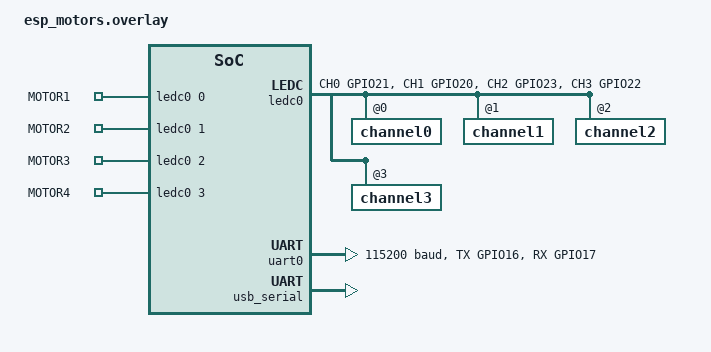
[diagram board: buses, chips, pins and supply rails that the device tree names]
/*
 * SPDX-License-Identifier: Apache-2.0
 *
 * ESP32-C6 as the ONLY driver of all four motor gates, commanded by the FPGA
 * over the existing UART link.
 *
 * THIS OVERLAY DRIVES THE GATES. It is the opposite of motor_safe.overlay,
 * which parks the same four pins as pulled-down inputs so the FPGA can own
 * them. Both cannot be true at once, and flashing this image REPLACES the gate
 * probe every motor measurement in this investigation was made with. Reflash
 * motor_safe to get the instrument back.
 *
 * Why the ESP owns all four rather than only motor4: FPGA ball F13 is dead as
 * an output (proven with a bare-metal bitstream: M1/M2/M3 read back exact, M4
 * reads nothing, and F13 as an input reads the carrier's 10k pulldown, so the
 * net is intact and the driver is not). Every gate is a wired-OR of an FPGA 47R
 * and an ESP 47R into that 10k, so keeping three motors dual-driven would leave
 * the contention that parks a contested gate near half rail. One owner per gate.
 *
 * Pin map is the routed PCB's, same as motor_4.overlay:
 *   MOTOR1 = GPIO21   MOTOR2 = GPIO20   MOTOR3 = GPIO23   MOTOR4 = GPIO22
 * 20 kHz, active-high into the SI2302 gate: duty 0 really is motor off.
 *
 * The FPGA link and the console are wired exactly as esp_bridge.overlay proved:
 *
 *   ESP U0TXD/GPIO16 (31)  -> JB1 95 -> FPGA E13 (J1_96) uart1_rxd
 *   ESP U0RXD/GPIO17 (30)  <- JB1 97 <- FPGA F14 (J1_98) uart1_txd
 *
 * The console HAS to move off uart0, because uart0 is the FPGA link: leave it
 * there and every printk is transmitted into the flight controller's receiver,
 * where the frame decoder would at best count it as noise. It moves to the
 * native USB Serial/JTAG unit on the USB-C port -- the same cable used to flash.
 */

#include <zephyr/dt-bindings/pwm/pwm.h>
#include <zephyr/dt-bindings/pinctrl/esp32c6-pinctrl.h>

/ {
	chosen {
		zephyr,console = &usb_serial;
		zephyr,shell-uart = &usb_serial;
	};

	aliases {
		fpga-uart = &uart0;
		pwm-motor0 = &pwm_motor0;
		pwm-motor1 = &pwm_motor1;
		pwm-motor2 = &pwm_motor2;
		pwm-motor3 = &pwm_motor3;
	};

	pwmleds {
		compatible = "pwm-leds";

		/*
		 * 50000 ns = 20 kHz. motor_1/motor_4.overlay carry 20000 in this
		 * cell while their applications pass 50000 ns explicitly to
		 * pwm_set_dt(), so the cell there is dead weight that disagrees
		 * with the comment above it. Stated correctly here so that
		 * pwm_set_pulse_dt() -- which uses the cell -- means 20 kHz too.
		 */
		pwm_motor0: pwm_motor_gpio21 {
			label = "MOTOR1";
			pwms = <&ledc0 0 50000 PWM_POLARITY_NORMAL>;
		};

		pwm_motor1: pwm_motor_gpio20 {
			label = "MOTOR2";
			pwms = <&ledc0 1 50000 PWM_POLARITY_NORMAL>;
		};

		pwm_motor2: pwm_motor_gpio23 {
			label = "MOTOR3";
			pwms = <&ledc0 2 50000 PWM_POLARITY_NORMAL>;
		};

		pwm_motor3: pwm_motor_gpio22 {
			label = "MOTOR4";
			pwms = <&ledc0 3 50000 PWM_POLARITY_NORMAL>;
		};
	};
};

&pinctrl {
	ledc0_default: ledc0_default {
		group1 {
			pinmux = <LEDC_CH0_GPIO21>,
				 <LEDC_CH1_GPIO20>,
				 <LEDC_CH2_GPIO23>,
				 <LEDC_CH3_GPIO22>;
			output-enable;
		};
	};

	uart0_fpga: uart0_fpga {
		group1 {
			pinmux = <UART0_TX_GPIO16>;
			output-high;
		};
		group2 {
			pinmux = <UART0_RX_GPIO17>;
			bias-pull-up;
		};
	};
};

&ledc0 {
	pinctrl-0 = <&ledc0_default>;
	pinctrl-names = "default";
	status = "okay";
	#address-cells = <1>;
	#size-cells = <0>;

	channel0@0 {
		reg = <0x0>;
		timer = <0>;
	};

	channel1@1 {
		reg = <0x1>;
		timer = <0>;
	};

	channel2@2 {
		reg = <0x2>;
		timer = <0>;
	};

	channel3@3 {
		reg = <0x3>;
		timer = <0>;
	};
};

&uart0 {
	status = "okay";
	pinctrl-0 = <&uart0_fpga>;
	pinctrl-names = "default";
	/*
	 * Must match hardware/zephyr/fpga-esp-uart.overlay's current-speed. That
	 * overlay says plainly that its 115200 is a starting point and not a
	 * measured value, while esp_bridge.overlay claims esp_uart proved it --
	 * the two disagree, so treat this as UNVERIFIED until the bench says
	 * otherwise. Changing it means changing both files together.
	 */
	current-speed = <115200>;
};

/* Carries the console and the status line, over the same cable used to flash. */
&usb_serial {
	status = "okay";
};
